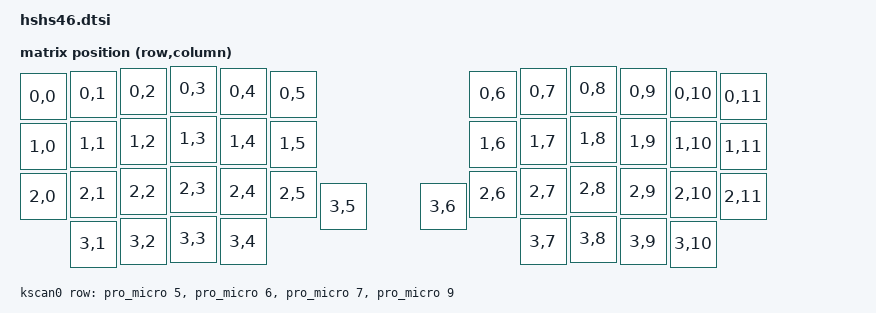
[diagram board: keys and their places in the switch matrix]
/*
 * Copyright (c) 2021-2022 The ZMK Contributors
 *
 * SPDX-License-Identifier: MIT
 */

#include <dt-bindings/zmk/matrix_transform.h>
#include <physical_layouts.dtsi>

/ {
    chosen {
        zmk,kscan = &kscan0;
        zmk,physical-layout = &physical_layout0;
    };

    default_transform: keymap_transform_0 {
        compatible = "zmk,matrix-transform";
        columns = <12>;
        rows = <4>;
// | SW1  | SW2  | SW3  | SW4  | SW5  | SW6  |                                   | SW6  | SW5  | SW4  | SW3  | SW2  | SW1  |
// | SW7  | SW8  | SW9  | SW10 | SW11 | SW12 |                                   | SW12 | SW11 | SW10 | SW9  | SW8  | SW7  |
// | SW13 | SW14 | SW15 | SW16 | SW17 | SW18 / SW19 /                     \ SW19 \ SW18 | SW17 | SW16 | SW15 | SW14 | SW13 |
//                         | SW20 / SW21 / SW22 / SW23 /               \ SW23 \ SW23 \ SW21 \ SW20 |
        map = <
RC(0,0) RC(0,1) RC(0,2) RC(0,3) RC(0,4) RC(0,5)                                   RC(0,6) RC(0,7) RC(0,8) RC(0,9) RC(0,10) RC(0,11)
RC(1,0) RC(1,1) RC(1,2) RC(1,3) RC(1,4) RC(1,5)                                   RC(1,6) RC(1,7) RC(1,8) RC(1,9) RC(1,10) RC(1,11)
RC(2,0) RC(2,1) RC(2,2) RC(2,3) RC(2,4) RC(2,5) RC(3,5)                   RC(3,6) RC(2,6) RC(2,7) RC(2,8) RC(2,9) RC(2,10) RC(2,11)
                                RC(3,1) RC(3,2) RC(3,3) RC(3,4)   RC(3,7) RC(3,8) RC(3,9) RC(3,10)
        >;
    };

    physical_layout0: physical_layout_0 {
        compatible = "zmk,physical-layout";
        display-name = "HSHS46";
        kscan = <&kscan0>;
        transform = <&default_transform>;
        keys = <
            // Row 0 - Left side (columns 0-5)
            // Format: width height x y rotation splay stagger
            // Column 0: outer column, slight splay outward, no stagger
            &key_physical_attrs 100 100 -50 0 0 5 0      // RC(0,0)
            // Column 1: slight splay, slight upward stagger
            &key_physical_attrs 100 100 50 -5 0 3 -5     // RC(0,1)
            // Column 2: index column, minimal splay, more stagger
            &key_physical_attrs 100 100 150 -10 0 2 -10  // RC(0,2)
            // Column 3: middle column, slight inward, more stagger
            &key_physical_attrs 100 100 250 -15 0 -2 -15 // RC(0,3)
            // Column 4: ring column, more inward, less stagger
            &key_physical_attrs 100 100 350 -10 0 -4 -10  // RC(0,4)
            // Column 5: pinky column, more inward, minimal stagger
            &key_physical_attrs 100 100 450 -5 0 -6 -5  // RC(0,5)
            // Gap (columns 6-11 start at x=800 to leave space)
            // Row 0 - Right side (columns 6-11) - mirrored splay angles
            &key_physical_attrs 100 100 850 -5 0 -6 -5   // RC(0,6)
            &key_physical_attrs 100 100 950 -10 0 -4 -10 // RC(0,7)
            &key_physical_attrs 100 100 1050 -15 0 -2 -15 // RC(0,8)
            &key_physical_attrs 100 100 1150 -10 0 2 -10 // RC(0,9)
            &key_physical_attrs 100 100 1250 -5 0 3 -5   // RC(0,10)
            &key_physical_attrs 100 100 1350 0 0 5 0     // RC(0,11)
            // Row 1 - Left side (columns 0-5)
            &key_physical_attrs 100 100 -50 100 0 5 0     // RC(1,0)
            &key_physical_attrs 100 100 50 95 0 3 -5      // RC(1,1)
            &key_physical_attrs 100 100 150 90 0 2 -10    // RC(1,2)
            &key_physical_attrs 100 100 250 85 0 -2 -15   // RC(1,3)
            &key_physical_attrs 100 100 350 90 0 -4 -10   // RC(1,4)
            &key_physical_attrs 100 100 450 95 0 -6 -5    // RC(1,5)
            // Row 1 - Right side (columns 6-11)
            &key_physical_attrs 100 100 850 95 0 -6 -5   // RC(1,6)
            &key_physical_attrs 100 100 950 90 0 -4 -10  // RC(1,7)
            &key_physical_attrs 100 100 1050 85 0 -2 -15 // RC(1,8)
            &key_physical_attrs 100 100 1150 90 0 2 -10  // RC(1,9)
            &key_physical_attrs 100 100 1250 95 0 3 -5   // RC(1,10)
            &key_physical_attrs 100 100 1350 100 0 5 0   // RC(1,11)
            // Row 2 - Left side (columns 0-5)
            &key_physical_attrs 100 100 -50 200 0 5 0     // RC(2,0)
            &key_physical_attrs 100 100 50 195 0 3 -5     // RC(2,1)
            &key_physical_attrs 100 100 150 190 0 2 -10   // RC(2,2)
            &key_physical_attrs 100 100 250 185 0 -2 -15  // RC(2,3)
            &key_physical_attrs 100 100 350 190 0 -4 -10  // RC(2,4)
            &key_physical_attrs 100 100 450 195 0 -6 -5  // RC(2,5)
            // Thumb cluster - Left side (RC(3,5)) - positioned lower and inward
            &key_physical_attrs 100 100 550 220 0 -10 20 // RC(3,5) - thumb key
            // Row 2 - Right side (columns 6-11)
            // Thumb cluster - Right side (RC(3,6)) - positioned lower and inward
            &key_physical_attrs 100 100 750 220 0 10 20   // RC(3,6) - thumb key
            &key_physical_attrs 100 100 850 195 0 -6 -5  // RC(2,6)
            &key_physical_attrs 100 100 950 190 0 -4 -10  // RC(2,7)
            &key_physical_attrs 100 100 1050 185 0 -2 -15 // RC(2,8)
            &key_physical_attrs 100 100 1150 190 0 2 -10  // RC(2,9)
            &key_physical_attrs 100 100 1250 195 0 3 -5   // RC(2,10)
            &key_physical_attrs 100 100 1350 200 0 5 0   // RC(2,11)
            // Row 3 - Left side (columns 1-4) - bottom row, more stagger
            &key_physical_attrs 100 100 50 295 0 3 -5    // RC(3,1)
            &key_physical_attrs 100 100 150 290 0 2 -10   // RC(3,2)
            &key_physical_attrs 100 100 250 285 0 -2 -15  // RC(3,3)
            &key_physical_attrs 100 100 350 290 0 -4 -10  // RC(3,4)
            // Row 3 - Right side (columns 7-10)
            &key_physical_attrs 100 100 950 290 0 -4 -10  // RC(3,7)
            &key_physical_attrs 100 100 1050 285 0 -2 -15 // RC(3,8)
            &key_physical_attrs 100 100 1150 290 0 2 -10  // RC(3,9)
            &key_physical_attrs 100 100 1250 295 0 3 -5   // RC(3,10)
        >;
    };

    kscan0: kscan {
        compatible = "zmk,kscan-gpio-matrix";
        label = "KSCAN";

        diode-direction = "col2row";
        row-gpios
            = <&pro_micro 5 (GPIO_ACTIVE_HIGH | GPIO_PULL_DOWN)>
            , <&pro_micro 6 (GPIO_ACTIVE_HIGH | GPIO_PULL_DOWN)>
            , <&pro_micro 7 (GPIO_ACTIVE_HIGH | GPIO_PULL_DOWN)>
            , <&pro_micro 9 (GPIO_ACTIVE_HIGH | GPIO_PULL_DOWN)>
            ;

    };


};
